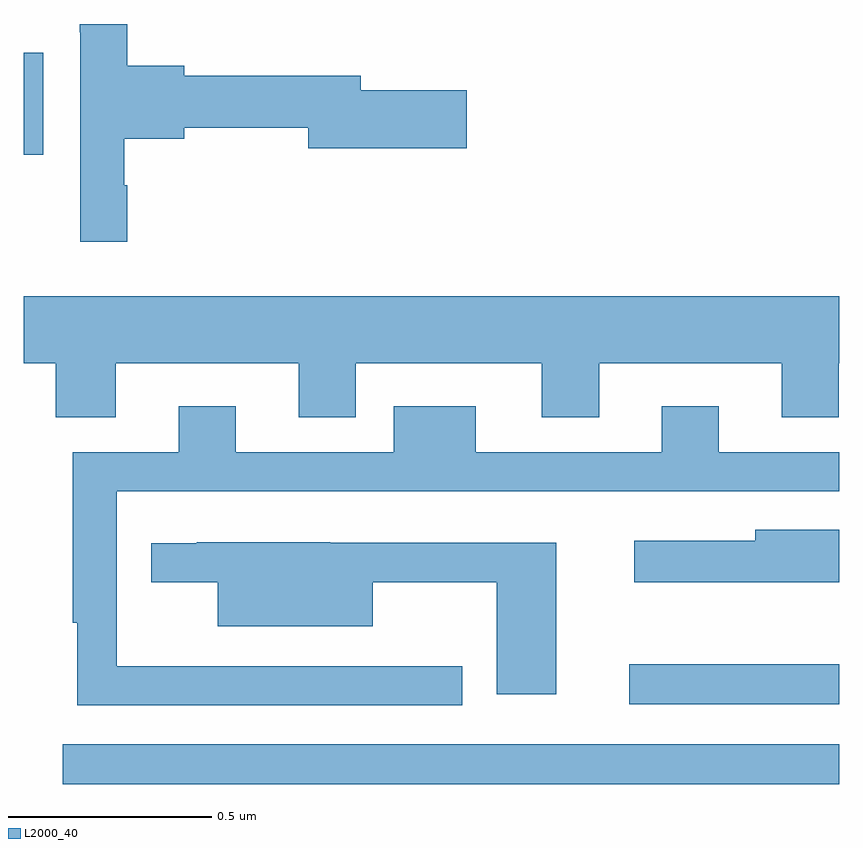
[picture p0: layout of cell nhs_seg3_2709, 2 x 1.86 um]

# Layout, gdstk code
import gdstk
lib = gdstk.Library(unit=1e-6, precision=1e-09)
def R(c, l, rs):  # rectangles x0, y0, x1, y1
    for r in rs: c.add(gdstk.rectangle(r[:2], r[2:], *l))
def P(c, l, *ps):  # polygons
    for p in ps: c.add(gdstk.Polygon(p, *l))
L2000_40 = (2000, 40)

nhs_seg3_2709 = lib.new_cell('nhs_seg3_2709')
R(nhs_seg3_2709, L2000_40, [(144.096,714.536,146,714.633), (145.485,714.732,146,714.83), (144,716.079,144.048,716.329)])
P(nhs_seg3_2709, L2000_40, [(144.254,716.004),(144.247,716.004),(144.247,716.119),(144.394,716.119),(144.394,716.145),(144.698,716.145),(144.698,716.095),(145.087,716.095),(145.087,716.237),(144.826,716.237),(144.826,716.273),(144.394,716.273),(144.394,716.297),(144.254,716.297),(144.254,716.4),(144.137,716.4),(144.137,716.38),(144.138,716.38),(144.138,715.866),(144.254,715.866)],
  [(144.226,715.568),(144.674,715.568),(144.674,715.435),(144.814,715.435),(144.814,715.568),(145.271,715.568),(145.271,715.435),(145.411,715.435),(145.411,715.568),(145.859,715.568),(145.859,715.435),(145.999,715.435),(145.999,715.568),(146,715.568),(146,715.732),(144,715.732),(144,715.568),(144.079,715.568),(144.079,715.435),(144.226,715.435)],
  [(145.075,714.825),(144.228,714.825),(144.228,715.254),(146,715.254),(146,715.35),(145.705,715.35),(145.705,715.462),(145.565,715.462),(145.565,715.35),(145.108,715.35),(145.108,715.462),(144.908,715.462),(144.908,715.35),(144.52,715.35),(144.52,715.462),(144.38,715.462),(144.38,715.35),(144.12,715.35),(144.12,714.932),(144.131,714.932),(144.131,714.729),(145.075,714.729)],
  [(146,715.159),(145.794,715.159),(145.794,715.132),(145.497,715.132),(145.497,715.031),(146,715.031)],
  [(145.306,715.128),(144.752,715.128),(144.752,715.129),(144.424,715.129),(144.424,715.127),(144.313,715.127),(144.313,715.031),(144.476,715.031),(144.476,714.923),(144.856,714.923),(144.856,715.031),(145.16,715.031),(145.16,714.756),(145.306,714.756)])

lib.write_gds('nhs_seg3_2709.gds')
